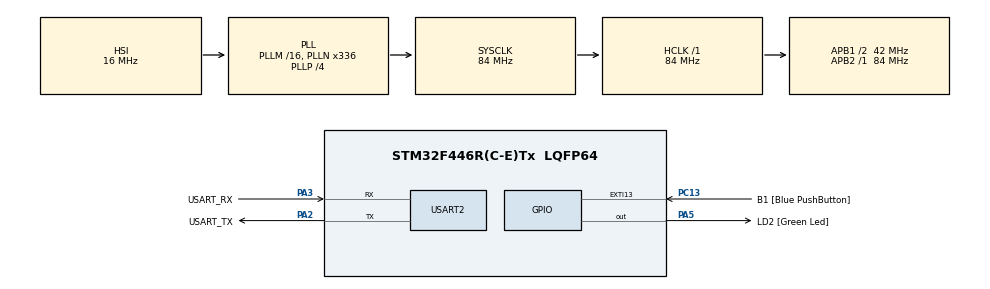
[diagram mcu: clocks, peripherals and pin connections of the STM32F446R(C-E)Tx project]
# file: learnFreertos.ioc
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FREERTOS.Tasks01=defaultTask,24,128,StartDefaultTask,Default,NULL,Dynamic,NULL,NULL
FREERTOS.configUSE_NEWLIB_REENTRANT=1
FREERTOS.configUSE_PREEMPTION=0
Mcu.Family=STM32F4
Mcu.Name=STM32F446R(C-E)Tx
Mcu.Package=LQFP64
NVIC.PriorityGroup=NVIC_PRIORITYGROUP_4
NVIC.TIM6_DAC_IRQn=true\:15\:0\:false\:false\:true\:false\:false\:true\:true
NVIC.TimeBase=TIM6_DAC_IRQn
NVIC.TimeBaseIP=TIM6
NVIC.USART2_IRQn=true\:5\:0\:false\:false\:true\:true\:true\:true\:true
PA13.GPIO_Label=TMS
PA13.Mode=Trace_Asynchronous_SW
PA13.Signal=SYS_JTMS-SWDIO
PA14.GPIO_Label=TCK
PA14.Mode=Trace_Asynchronous_SW
PA14.Signal=SYS_JTCK-SWCLK
PA2.GPIO_Label=USART_TX
PA2.Mode=Asynchronous
PA2.Signal=USART2_TX
PA3.GPIO_Label=USART_RX
PA3.Mode=Asynchronous
PA3.Signal=USART2_RX
PA5.GPIO_Label=LD2 [Green Led]
PA5.Signal=GPIO_Output
PB3.GPIO_Label=SWO
PB3.Mode=Trace_Asynchronous_SW
PB3.Signal=SYS_JTDO-SWO
PC13.GPIO_Label=B1 [Blue PushButton]
PC13.GPIO_ModeDefaultEXTI=GPIO_MODE_IT_FALLING
PC13.Signal=GPXTI13
PC14-OSC32_IN.Signal=RCC_OSC32_IN
PC15-OSC32_OUT.Signal=RCC_OSC32_OUT
PH0-OSC_IN.Signal=RCC_OSC_IN
PH1-OSC_OUT.Signal=RCC_OSC_OUT
ProjectManager.HeapSize=0x200
ProjectManager.StackSize=0x400
ProjectManager.TargetToolchain=STM32CubeIDE
RCC.AHBFreq_Value=84000000
RCC.APB1CLKDivider=RCC_HCLK_DIV2
RCC.APB1Freq_Value=42000000
RCC.APB1TimFreq_Value=84000000
RCC.APB2Freq_Value=84000000
RCC.APB2TimFreq_Value=84000000
RCC.CortexFreq_Value=84000000
RCC.FLatency-AdvancedSettings=FLASH_LATENCY_2
RCC.HCLKFreq_Value=84000000
RCC.HSE_VALUE=8000000
RCC.HSI_VALUE=16000000
RCC.LSE_VALUE=32768
RCC.PLLN=336
RCC.PLLP=RCC_PLLP_DIV4
RCC.SYSCLKFreq_VALUE=84000000
RCC.SYSCLKSource=RCC_SYSCLKSOURCE_PLLCLK
RCC.USBFreq_Value=168000000
RCC.VCOOutputFreq_Value=336000000
USART2.VirtualMode=VM_ASYNC
VP_FREERTOS_VS_CMSIS_V2.Mode=CMSIS_V2
VP_SYS_VS_tim6.Mode=TIM6
board=NUCLEO-F446RE

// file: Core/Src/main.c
/* USER CODE BEGIN Header */
/**
  ******************************************************************************
  * @file           : main.c
  * @brief          : Main program body
  ******************************************************************************
  * @attention
  *
  * Copyright (c) 2025 STMicroelectronics.
  * All rights reserved.
  *
  * This software is licensed under terms that can be found in the LICENSE file
  * in the root directory of this software component.
  * If no LICENSE file comes with this software, it is provided AS-IS.
  *
  ******************************************************************************
  */
/* USER CODE END Header */
#include "main.h"
#include "cmsis_os.h"

/* USER CODE BEGIN Includes */
#include <stdio.h>
#include "FreeRTOS.h"
#include "task.h"

/* USER CODE END Includes */

UART_HandleTypeDef huart2;

/* Definitions for defaultTask */
osThreadId_t defaultTaskHandle;
const osThreadAttr_t defaultTask_attributes = {
  .name = "defaultTask",
  .stack_size = 128 * 4,
  .priority = (osPriority_t) osPriorityNormal,
};
/* USER CODE BEGIN PV */

#define DWT_CTRL (*(volatile uint32_t*)0xE0001000)

/* USER CODE END PV */

void SystemClock_Config(void);
static void MX_GPIO_Init(void);
static void MX_USART2_UART_Init(void);
void StartDefaultTask(void *argument);

/* USER CODE BEGIN PFP */
static void task1_handler(void* parameters);
static void task2_handler(void* parameters);

/* USER CODE END PFP */

int main(void)
{

  /* USER CODE BEGIN 1 */

	TaskHandle_t task1_handle;
	TaskHandle_t task2_handle;

	BaseType_t status;

  /* USER CODE END 1 */

  /* MCU Configuration--------------------------------------------------------*/

  /* Reset of all peripherals, Initializes the Flash interface and the Systick. */
  HAL_Init();

  /* Configure the system clock */
  SystemClock_Config();

  /* Initialize all configured peripherals */
  MX_GPIO_Init();
  MX_USART2_UART_Init();
  /* USER CODE BEGIN 2 */

  DWT_CTRL |= (1<<0);

  SEGGER_SYSVIEW_Conf();
  SEGGER_SYSVIEW_Start();

  status = xTaskCreate(task1_handler, "Task-1", 200, "heloo world", 2, &task1_handle);
  configASSERT(status == pdPASS);

  status = xTaskCreate(task2_handler, "Task-2", 200, "SUIIIIIIIIIIIIII world", 2, &task2_handle);
  configASSERT(status == pdPASS);

  vTaskStartScheduler();

  /* USER CODE END 2 */

  /* Init scheduler */
  osKernelInitialize();

  /* Create the thread(s) */
  /* creation of defaultTask */
  defaultTaskHandle = osThreadNew(StartDefaultTask, NULL, &defaultTask_attributes);

  /* Start scheduler */
  osKernelStart();

  /* We should never get here as control is now taken by the scheduler */

  /* Infinite loop */
  while (1)
  {

  }
}

void SystemClock_Config(void)
{
  RCC_OscInitTypeDef RCC_OscInitStruct = {0};
  RCC_ClkInitTypeDef RCC_ClkInitStruct = {0};

  /** Configure the main internal regulator output voltage
  */
  __HAL_RCC_PWR_CLK_ENABLE();
  __HAL_PWR_VOLTAGESCALING_CONFIG(PWR_REGULATOR_VOLTAGE_SCALE3);

  /** Initializes the RCC Oscillators according to the specified parameters
  * in the RCC_OscInitTypeDef structure.
  */
  RCC_OscInitStruct.OscillatorType = RCC_OSCILLATORTYPE_HSI;
  RCC_OscInitStruct.HSIState = RCC_HSI_ON;
  RCC_OscInitStruct.HSICalibrationValue = RCC_HSICALIBRATION_DEFAULT;
  RCC_OscInitStruct.PLL.PLLState = RCC_PLL_ON;
  RCC_OscInitStruct.PLL.PLLSource = RCC_PLLSOURCE_HSI;
  RCC_OscInitStruct.PLL.PLLM = 16;
  RCC_OscInitStruct.PLL.PLLN = 336;
  RCC_OscInitStruct.PLL.PLLP = RCC_PLLP_DIV4;
  RCC_OscInitStruct.PLL.PLLQ = 2;
  RCC_OscInitStruct.PLL.PLLR = 2;
  if (HAL_RCC_OscConfig(&RCC_OscInitStruct) != HAL_OK)
  {
    Error_Handler();
  }

  /** Initializes the CPU, AHB and APB buses clocks
  */
  RCC_ClkInitStruct.ClockType = RCC_CLOCKTYPE_HCLK|RCC_CLOCKTYPE_SYSCLK
                              |RCC_CLOCKTYPE_PCLK1|RCC_CLOCKTYPE_PCLK2;
  RCC_ClkInitStruct.SYSCLKSource = RCC_SYSCLKSOURCE_PLLCLK;
  RCC_ClkInitStruct.AHBCLKDivider = RCC_SYSCLK_DIV1;
  RCC_ClkInitStruct.APB1CLKDivider = RCC_HCLK_DIV2;
  RCC_ClkInitStruct.APB2CLKDivider = RCC_HCLK_DIV1;

  if (HAL_RCC_ClockConfig(&RCC_ClkInitStruct, FLASH_LATENCY_2) != HAL_OK)
  {
    Error_Handler();
  }
}

static void MX_USART2_UART_Init(void)
{

  huart2.Instance = USART2;
  huart2.Init.BaudRate = 115200;
  huart2.Init.WordLength = UART_WORDLENGTH_8B;
  huart2.Init.StopBits = UART_STOPBITS_1;
  huart2.Init.Parity = UART_PARITY_NONE;
  huart2.Init.Mode = UART_MODE_TX_RX;
  huart2.Init.HwFlowCtl = UART_HWCONTROL_NONE;
  huart2.Init.OverSampling = UART_OVERSAMPLING_16;
  if (HAL_UART_Init(&huart2) != HAL_OK)
  {
    Error_Handler();
  }

}

static void MX_GPIO_Init(void)
{
  GPIO_InitTypeDef GPIO_InitStruct = {0};

  /* GPIO Ports Clock Enable */
  __HAL_RCC_GPIOC_CLK_ENABLE();
  __HAL_RCC_GPIOH_CLK_ENABLE();
  __HAL_RCC_GPIOA_CLK_ENABLE();
  __HAL_RCC_GPIOB_CLK_ENABLE();

  /*Configure GPIO pin Output Level */
  HAL_GPIO_WritePin(LD2_GPIO_Port, LD2_Pin, GPIO_PIN_RESET);

  /*Configure GPIO pin : B1_Pin */
  GPIO_InitStruct.Pin = B1_Pin;
  GPIO_InitStruct.Mode = GPIO_MODE_IT_FALLING;
  GPIO_InitStruct.Pull = GPIO_NOPULL;
  HAL_GPIO_Init(B1_GPIO_Port, &GPIO_InitStruct);

  /*Configure GPIO pin : LD2_Pin */
  GPIO_InitStruct.Pin = LD2_Pin;
  GPIO_InitStruct.Mode = GPIO_MODE_OUTPUT_PP;
  GPIO_InitStruct.Pull = GPIO_NOPULL;
  GPIO_InitStruct.Speed = GPIO_SPEED_FREQ_LOW;
  HAL_GPIO_Init(LD2_GPIO_Port, &GPIO_InitStruct);

}

/* USER CODE BEGIN 4 */
static void task1_handler(void* parameters){
	while(1){
		printf("%s\n", (char*)parameters);
		taskYIELD();
		vTaskDelay(pdMS_TO_TICKS(500));
	}
}

static void task2_handler(void* parameters){
	while(1){
		printf("%s\n", (char*)parameters);
		taskYIELD();
		vTaskDelay(pdMS_TO_TICKS(500));
	}
}

/* USER CODE END 4 */

void StartDefaultTask(void *argument)
{
  for(;;)
  {
    osDelay(1);
  }
}

void HAL_TIM_PeriodElapsedCallback(TIM_HandleTypeDef *htim)
{
  if (htim->Instance == TIM6)
  {
    HAL_IncTick();
  }
}

void Error_Handler(void)
{
  __disable_irq();
  while (1)
  {
  }
}
